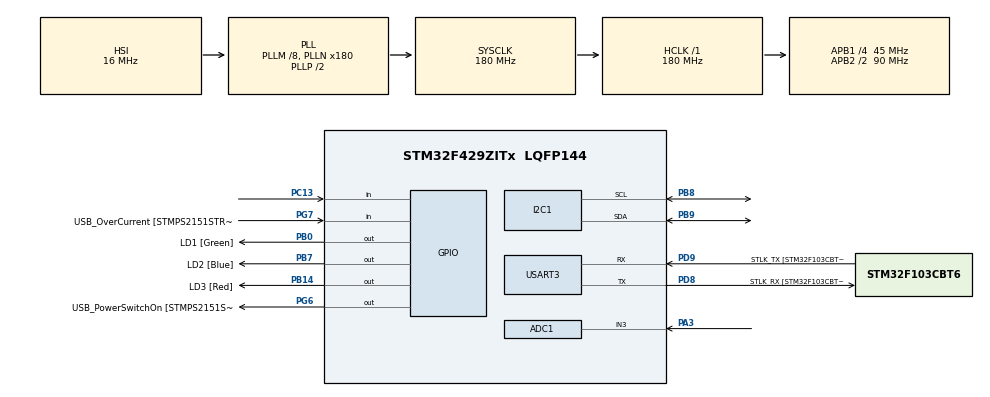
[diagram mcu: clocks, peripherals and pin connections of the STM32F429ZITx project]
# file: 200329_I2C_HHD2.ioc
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ADC1.Channel-0\#ChannelRegularConversion=ADC_CHANNEL_3
ADC1.NbrOfConversionFlag=1
ADC1.Rank-0\#ChannelRegularConversion=1
ADC1.SamplingTime-0\#ChannelRegularConversion=ADC_SAMPLETIME_3CYCLES
ADC1.master=1
Mcu.Family=STM32F4
Mcu.Name=STM32F429ZITx
Mcu.Package=LQFP144
NVIC.ADC_IRQn=true\:0\:0\:false\:false\:true\:true\:true
NVIC.PriorityGroup=NVIC_PRIORITYGROUP_4
NVIC.TIM2_IRQn=true\:0\:0\:false\:false\:true\:true\:true
NVIC.USART3_IRQn=true\:0\:0\:false\:false\:true\:true\:true
PA1.GPIO_Label=RMII_REF_CLK [LAN8742A-CZ-TR_REFCLK0]
PA1.Signal=ETH_REF_CLK
PA10.GPIO_Label=USB_ID
PA10.Signal=USB_OTG_FS_ID
PA11.GPIO_Label=USB_DM
PA11.Signal=USB_OTG_FS_DM
PA12.GPIO_Label=USB_DP
PA12.Signal=USB_OTG_FS_DP
PA13.GPIO_Label=TMS
PA13.Mode=Serial_Wire
PA13.Signal=SYS_JTMS-SWDIO
PA14.GPIO_Label=TCK
PA14.Mode=Serial_Wire
PA14.Signal=SYS_JTCK-SWCLK
PA2.GPIO_Label=RMII_MDIO [LAN8742A-CZ-TR_MDIO]
PA2.Signal=ETH_MDIO
PA3.Signal=ADCx_IN3
PA7.GPIO_Label=RMII_CRS_DV [LAN8742A-CZ-TR_CRS_DV]
PA7.Signal=ETH_CRS_DV
PA8.GPIO_Label=USB_SOF [TP1]
PA8.Signal=USB_OTG_FS_SOF
PA9.GPIO_Label=USB_VBUS
PA9.Signal=USB_OTG_FS_VBUS
PB0.GPIO_Label=LD1 [Green]
PB0.Signal=GPIO_Output
PB13.GPIO_Label=RMII_TXD1 [LAN8742A-CZ-TR_TXD1]
PB13.Signal=ETH_TXD1
PB14.GPIO_Label=LD3 [Red]
PB14.Signal=GPIO_Output
PB7.GPIO_Label=LD2 [Blue]
PB7.Signal=GPIO_Output
PB8.Mode=I2C
PB8.Signal=I2C1_SCL
PB9.Mode=I2C
PB9.Signal=I2C1_SDA
PC1.GPIO_Label=RMII_MDC [LAN8742A-CZ-TR_MDC]
PC1.Signal=ETH_MDC
PC13.Signal=GPIO_Input
PC14/OSC32_IN.Mode=LSE-External-Oscillator
PC14/OSC32_IN.Signal=RCC_OSC32_IN
PC15/OSC32_OUT.Mode=LSE-External-Oscillator
PC15/OSC32_OUT.Signal=RCC_OSC32_OUT
PC4.GPIO_Label=RMII_RXD0 [LAN8742A-CZ-TR_RXD0]
PC4.Signal=ETH_RXD0
PC5.GPIO_Label=RMII_RXD1 [LAN8742A-CZ-TR_RXD1]
PC5.Signal=ETH_RXD1
PD8.GPIO_Label=STLK_RX [STM32F103CBT6_PA3]
PD8.Mode=Asynchronous
PD8.Signal=USART3_TX
PD9.GPIO_Label=STLK_TX [STM32F103CBT6_PA2]
PD9.Mode=Asynchronous
PD9.Signal=USART3_RX
PG11.GPIO_Label=RMII_TX_EN [LAN8742A-CZ-TR_TXEN]
PG11.Signal=ETH_TX_EN
PG13.GPIO_Label=RMII_TXD0 [LAN8742A-CZ-TR_TXD0]
PG13.Signal=ETH_TXD0
PG6.GPIO_Label=USB_PowerSwitchOn [STMPS2151STR_EN]
PG6.Signal=GPIO_Output
PG7.GPIO_Label=USB_OverCurrent [STMPS2151STR_FAULT]
PG7.Signal=GPIO_Input
PH0/OSC_IN.GPIO_Label=MCO [STM32F103CBT6_PA8]
PH0/OSC_IN.Signal=RCC_OSC_IN
ProjectManager.HeapSize=0x200
ProjectManager.StackSize=0x400
ProjectManager.TargetToolchain=STM32CubeIDE
RCC.48MHZClocksFreq_Value=51428571.428571425
RCC.AHBFreq_Value=180000000
RCC.APB1CLKDivider=RCC_HCLK_DIV4
RCC.APB1Freq_Value=45000000
RCC.APB1TimFreq_Value=90000000
RCC.APB2CLKDivider=RCC_HCLK_DIV2
RCC.APB2Freq_Value=90000000
RCC.APB2TimCLKDivider=2
RCC.APB2TimFreq_Value=180000000
RCC.CortexFreq_Value=180000000
RCC.HCLKFreq_Value=180000000
RCC.HSE_VALUE=8000000
RCC.HSI_VALUE=16000000
RCC.PLLM=8
RCC.PLLMUL=RCC_PLL_MUL9
RCC.PLLN=180
RCC.PLLQ=7
RCC.PRESCALERUSB=RCC_USBCLKSOURCE_PLL_DIV1_5
RCC.RCC_RTC_Clock_Source=RCC_RTCCLKSOURCE_LSE
RCC.RCC_RTC_Clock_SourceVirtual=RCC_RTCCLKSOURCE_LSE
RCC.SYSCLKFreq_VALUE=180000000
RCC.SYSCLKSource=RCC_SYSCLKSOURCE_PLLCLK
RCC.SYSCLKSourceVirtual=RCC_SYSCLKSOURCE_PLLCLK
RCC.USBFreq_Value=48000000
RCC.VCOOutputFreq_Value=360000000
SH.ADCx_IN3.0=ADC1_IN3,IN3
TIM2.Period=900
TIM2.Prescaler=1000
USART3.VirtualMode=VM_ASYNC
VP_RTC_VS_RTC_Activate.Mode=RTC_Enabled
VP_TIM2_VS_ClockSourceINT.Mode=Internal
board=NUCLEO-F429ZI

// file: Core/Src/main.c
/* USER CODE BEGIN Header */
/**
  ******************************************************************************
  * @file           : main.c
  * @brief          : Main program body
  ******************************************************************************
  * @attention
  *
  * <h2><center>&copy; Copyright (c) 2020 STMicroelectronics.
  * All rights reserved.</center></h2>
  *
  * This software component is licensed by ST under BSD 3-Clause license,
  * the "License"; You may not use this file except in compliance with the
  * License. You may obtain a copy of the License at:
  *                        opensource.org/licenses/BSD-3-Clause
  *
  ******************************************************************************
  */
/* USER CODE END Header */

#include "main.h"

/* USER CODE BEGIN Includes */
#include <string.h>
/* USER CODE END Includes */

/* USER CODE BEGIN PTD */

#ifdef __GNUC__
/* With GCC, small printf (option LD Linker->Libraries->Small printf
   set to 'Yes') calls __io_putchar() */
#define PUTCHAR_PROTOTYPE int __io_putchar(int ch)
#else
#define PUTCHAR_PROTOTYPE int fputc(int ch, FILE *f)
#endif /* __GNUC__ */

#define LCD_ADDR (0x27 << 1)

/* USER CODE END PTD */

ADC_HandleTypeDef hadc1;

I2C_HandleTypeDef hi2c1;

RTC_HandleTypeDef hrtc;

TIM_HandleTypeDef htim2;

UART_HandleTypeDef huart3;

void SystemClock_Config(void);
static void MX_GPIO_Init(void);
static void MX_USART3_UART_Init(void);
static void MX_ADC1_Init(void);
static void MX_I2C1_Init(void);
static void MX_RTC_Init(void);
static void MX_TIM2_Init(void);
/* USER CODE BEGIN PFP */

//#define LCD_ADDR (0x27 << 1)
//#define FM ((uint32_t)0x08010000)

volatile int timer_count;
uint32_t adc_val=0;
int mode_count =0;
int posit = 1; //시간 위치 0 :  시  위치,  시간위치1 : 분 위치
unsigned int mode = 0; //mode 0: now time, mode 1: alarm, mode2 : music

unsigned int hour_now=0, min_now =0, sec_now =0 ; //현재 시간
unsigned int hour_alm=0, min_alm=5; sec_alm =0;			//알람 시, 알람 분
char music_cnt[5][20] = {"1.Hi GoldenBoy  ", "2.LOVE ME TENDER", "3.Tender          ", "4.Sad movie     ", "5.Bye GoldenBoy "};
unsigned int i =0; 		//music_cnt의 첫번째 배열

char now_time[20], alm_time[20];

char uart_buf;

/* USER CODE END PFP */

/* USER CODE BEGIN 0 */
void ADC_MODULE()
{
	HAL_ADC_Start(&hadc1);
	HAL_ADC_PollForConversion(&hadc1, 10);
	adc_val = HAL_ADC_GetValue(&hadc1);
	//HAL_ADC_Stop(&hadc1);  //이거 왜 넣은거지??
}

void HAL_TIM_PeriodElapsedCallback(TIM_HandleTypeDef *htim)
{
	if(htim->Instance==TIM2)
	{
		if((timer_count%10)==0)
		{
			//printf("1초마다 실행되어야 하는 타이머 카운터\n");
			////1초마다 실행 될것.
			sec_now++; // 1초가 지남
			if(sec_now > 59)
				{
				sec_now =0;
				min_now++;
				}
			if(min_now > 59)
			{
				min_now =0;
				hour_now++;
			}
			if(hour_now >23)
				hour_now =0;

		}
		timer_count++;
	}
}

/* USER CODE END 0 */

int main(void)
{

  /* MCU Configuration--------------------------------------------------------*/

  /* Reset of all peripherals, Initializes the Flash interface and the Systick. */
  HAL_Init();

  /* Configure the system clock */
  SystemClock_Config();

  /* Initialize all configured peripherals */
  MX_GPIO_Init();
  MX_USART3_UART_Init();
  MX_ADC1_Init();
  MX_I2C1_Init();
  MX_RTC_Init();
  MX_TIM2_Init();
  /* USER CODE BEGIN 2 */

  HAL_TIM_Base_Init(&htim2);
  HAL_TIM_Base_Start_IT(&htim2);

  HAL_ADC_Start(&hadc1);   //이게 있어야 ADC인터럽트 시작 가능

  /* USER CODE END 2 */

  /* Infinite loop */
  /* USER CODE BEGIN WHILE */
  LCD_Init(LCD_ADDR);
  while (1)
  {
		ADC_MODULE();
		//@ LCD첫번째 줄 출력

		if(mode ==0)
		{

			LCD_SendCommand(LCD_ADDR, 0x80);		//lcd의 첫째줄
			LCD_SendString(LCD_ADDR, "GoldenBoy Clock ");
			if(HAL_GPIO_ReadPin(GPIOC,GPIO_PIN_13) == GPIO_PIN_SET)
					mode++;
			/*
			if(mode_count > 1)
				{
					mode++;
					mode_count =0;
					break; //모드0 나감
				}
*/
			if(posit == 1 )  //posi가 0이면  hour 위치
			{

				switch(adc_val)
					{
					case 0 ... 10 :
						hour_now++;
						break;
					case 800 ... 900 :
						hour_now--;  //시 감소
						break;
					case 1800 ... 2000 :
						posit = 5;
						printf("hour, left 눌림\n");
						break;
					case 2600 ... 3000 :
						posit = 5;
						printf("hour, right 눌림\n");
						break;

					}
				if(hour_now < 12)
					sprintf(now_time, " AM %02d: %02d: %02d  ", hour_now ,min_now, sec_now);
				else
					sprintf(now_time, " PM %02d: %02d: %02d  ", hour_now-12,min_now, sec_now);
				LCD_SendCommand(LCD_ADDR, 0xC0);
				LCD_SendString(LCD_ADDR, now_time);

			}
			else
			{
				printf("여기는 now time, [min], 분배된 전압: %d , posit: %d \n", adc_val, posit);
				switch(adc_val)
					{
					case 0 ... 10 :
						min_now++;
						break;
					case 800 ... 900 :
						min_now--;  //시 감소
						break;
					case 1800 ... 2000 :
						posit = 1;
						printf("min, left 눌림\n");

						break;
					case 2600 ... 3000 :
						posit = 1;
						printf("min, right 눌림\n");
						break;

					}
				if(hour_now < 12)
					sprintf(now_time, " AM %02d: %02d: %02d  ", hour_now ,min_now, sec_now);
				else
					sprintf(now_time, " PM %02d: %02d: %02d  ", hour_now-12,min_now, sec_now);
				LCD_SendCommand(LCD_ADDR, 0xC0);
				LCD_SendString(LCD_ADDR, now_time);

			}
			if(hour_now == hour_alm && min_now == min_alm)
			{
				LCD_SendCommand(LCD_ADDR, 0x80);		//lcd의 첫째줄
				LCD_SendString(LCD_ADDR, "Wake up! hunny~ ");
			}
		}
		if(mode ==1)
		{
			sec_alm = 0;
			LCD_SendCommand(LCD_ADDR, 0x80);		//lcd의 첫째줄
			LCD_SendString(LCD_ADDR, " Alarm setting ");
			if(HAL_GPIO_ReadPin(GPIOC,GPIO_PIN_13) == GPIO_PIN_SET)
					mode++;
			if(posit == 1 )  //posi가 0이면  hour 위치
				{
					printf("여기는 now time, hour, 분배된 전압: %d , posit: %d \n", adc_val, posit);
					switch(adc_val)
						{
						case 0 ... 10 : 	//위
							hour_alm++;
							break;
						case 800 ... 900 : 	//아래
							hour_alm--;  //시 감소
							break;
						case 1800 ... 2000 :	//왼쪽
							posit = 5;
							printf("hour, left 눌림\n");
							break;
						case 2600 ... 3000 :	//오른쪽
							posit = 5;
							printf("hour, right 눌림\n");
							break;

						}
					if(hour_now < 12)
						sprintf(alm_time, " AM %02d: %02d: %02d  ", hour_alm ,min_alm, sec_alm);
					else
						sprintf(alm_time, " PM %02d: %02d: %02d  ", hour_alm-12,min_alm, sec_alm);
					LCD_SendCommand(LCD_ADDR, 0xC0);
					LCD_SendString(LCD_ADDR, alm_time);
					/*
					if(now_time == alm_time)
					{

					}
						*/
				}
				else
				{
					printf("여기는 now time, [min], 분배된 전압: %d , posit: %d \n", adc_val, posit);
					switch(adc_val)
						{
						case 0 ... 10 :
							min_alm++;
							break;
						case 800 ... 900 :
							min_alm--;  //시 감소
							break;
						case 1800 ... 2000 :
							posit = 1;
							printf("min, left 눌림\n");

							break;
						case 2600 ... 3000 :
							posit = 1;
							printf("min, right 눌림\n");
							break;

						}

					if(hour_now < 12)
						sprintf(alm_time, " AM %02d: %02d: %02d  ", hour_alm ,min_alm, sec_alm);
					else
						sprintf(alm_time, " PM %02d: %02d: %02d  ", hour_alm-12,min_alm, sec_alm);
					LCD_SendCommand(LCD_ADDR, 0xC0);
					LCD_SendString(LCD_ADDR, alm_time);

				}

		}
		if(mode ==2)
		{
			LCD_SendCommand(LCD_ADDR, 0x80);		//lcd의 첫째줄
			LCD_SendString(LCD_ADDR, " Music setting  ");
			if(HAL_GPIO_ReadPin(GPIOC,GPIO_PIN_13) == GPIO_PIN_SET)
					mode++;
			switch(adc_val)
			{
			case 0 ... 10 :
				i++;
				break;
			case 800 ... 900 :
				i--;
				break;
			case 1800 ... 2000 :
				i--;
				break;
			case 2600 ... 3000 :
				i++;
				break;
			}
			if(i >4 ) i =0;
			LCD_SendCommand(LCD_ADDR, 0xC0);
			LCD_SendString(LCD_ADDR, music_cnt[i]);

			printf("%s\n", music_cnt[i]);

		}
		if(mode > 2) mode = 0;

    /* USER CODE END WHILE */

  }
}

void SystemClock_Config(void)
{
  RCC_OscInitTypeDef RCC_OscInitStruct = {0};
  RCC_ClkInitTypeDef RCC_ClkInitStruct = {0};
  RCC_PeriphCLKInitTypeDef PeriphClkInitStruct = {0};

  /** Configure the main internal regulator output voltage
  */
  __HAL_RCC_PWR_CLK_ENABLE();
  __HAL_PWR_VOLTAGESCALING_CONFIG(PWR_REGULATOR_VOLTAGE_SCALE1);
  /** Initializes the CPU, AHB and APB busses clocks
  */
  RCC_OscInitStruct.OscillatorType = RCC_OSCILLATORTYPE_HSI|RCC_OSCILLATORTYPE_LSE;
  RCC_OscInitStruct.LSEState = RCC_LSE_ON;
  RCC_OscInitStruct.HSIState = RCC_HSI_ON;
  RCC_OscInitStruct.HSICalibrationValue = RCC_HSICALIBRATION_DEFAULT;
  RCC_OscInitStruct.PLL.PLLState = RCC_PLL_ON;
  RCC_OscInitStruct.PLL.PLLSource = RCC_PLLSOURCE_HSI;
  RCC_OscInitStruct.PLL.PLLM = 8;
  RCC_OscInitStruct.PLL.PLLN = 180;
  RCC_OscInitStruct.PLL.PLLP = RCC_PLLP_DIV2;
  RCC_OscInitStruct.PLL.PLLQ = 7;
  if (HAL_RCC_OscConfig(&RCC_OscInitStruct) != HAL_OK)
  {
    Error_Handler();
  }
  /** Activate the Over-Drive mode
  */
  if (HAL_PWREx_EnableOverDrive() != HAL_OK)
  {
    Error_Handler();
  }
  /** Initializes the CPU, AHB and APB busses clocks
  */
  RCC_ClkInitStruct.ClockType = RCC_CLOCKTYPE_HCLK|RCC_CLOCKTYPE_SYSCLK
                              |RCC_CLOCKTYPE_PCLK1|RCC_CLOCKTYPE_PCLK2;
  RCC_ClkInitStruct.SYSCLKSource = RCC_SYSCLKSOURCE_PLLCLK;
  RCC_ClkInitStruct.AHBCLKDivider = RCC_SYSCLK_DIV1;
  RCC_ClkInitStruct.APB1CLKDivider = RCC_HCLK_DIV4;
  RCC_ClkInitStruct.APB2CLKDivider = RCC_HCLK_DIV2;

  if (HAL_RCC_ClockConfig(&RCC_ClkInitStruct, FLASH_LATENCY_5) != HAL_OK)
  {
    Error_Handler();
  }
  PeriphClkInitStruct.PeriphClockSelection = RCC_PERIPHCLK_RTC;
  PeriphClkInitStruct.RTCClockSelection = RCC_RTCCLKSOURCE_LSE;
  if (HAL_RCCEx_PeriphCLKConfig(&PeriphClkInitStruct) != HAL_OK)
  {
    Error_Handler();
  }
}

static void MX_ADC1_Init(void)
{

  ADC_ChannelConfTypeDef sConfig = {0};

  /** Configure the global features of the ADC (Clock, Resolution, Data Alignment and number of conversion)
  */
  hadc1.Instance = ADC1;
  hadc1.Init.ClockPrescaler = ADC_CLOCK_SYNC_PCLK_DIV4;
  hadc1.Init.Resolution = ADC_RESOLUTION_12B;
  hadc1.Init.ScanConvMode = DISABLE;
  hadc1.Init.ContinuousConvMode = DISABLE;
  hadc1.Init.DiscontinuousConvMode = DISABLE;
  hadc1.Init.ExternalTrigConvEdge = ADC_EXTERNALTRIGCONVEDGE_NONE;
  hadc1.Init.ExternalTrigConv = ADC_SOFTWARE_START;
  hadc1.Init.DataAlign = ADC_DATAALIGN_RIGHT;
  hadc1.Init.NbrOfConversion = 1;
  hadc1.Init.DMAContinuousRequests = DISABLE;
  hadc1.Init.EOCSelection = ADC_EOC_SINGLE_CONV;
  if (HAL_ADC_Init(&hadc1) != HAL_OK)
  {
    Error_Handler();
  }
  /** Configure for the selected ADC regular channel its corresponding rank in the sequencer and its sample time.
  */
  sConfig.Channel = ADC_CHANNEL_3;
  sConfig.Rank = 1;
  sConfig.SamplingTime = ADC_SAMPLETIME_3CYCLES;
  if (HAL_ADC_ConfigChannel(&hadc1, &sConfig) != HAL_OK)
  {
    Error_Handler();
  }

}

static void MX_I2C1_Init(void)
{

  hi2c1.Instance = I2C1;
  hi2c1.Init.ClockSpeed = 100000;
  hi2c1.Init.DutyCycle = I2C_DUTYCYCLE_2;
  hi2c1.Init.OwnAddress1 = 0;
  hi2c1.Init.AddressingMode = I2C_ADDRESSINGMODE_7BIT;
  hi2c1.Init.DualAddressMode = I2C_DUALADDRESS_DISABLE;
  hi2c1.Init.OwnAddress2 = 0;
  hi2c1.Init.GeneralCallMode = I2C_GENERALCALL_DISABLE;
  hi2c1.Init.NoStretchMode = I2C_NOSTRETCH_DISABLE;
  if (HAL_I2C_Init(&hi2c1) != HAL_OK)
  {
    Error_Handler();
  }
  /** Configure Analogue filter
  */
  if (HAL_I2CEx_ConfigAnalogFilter(&hi2c1, I2C_ANALOGFILTER_ENABLE) != HAL_OK)
  {
    Error_Handler();
  }
  /** Configure Digital filter
  */
  if (HAL_I2CEx_ConfigDigitalFilter(&hi2c1, 0) != HAL_OK)
  {
    Error_Handler();
  }

}

static void MX_RTC_Init(void)
{

  /** Initialize RTC Only
  */
  hrtc.Instance = RTC;
  hrtc.Init.HourFormat = RTC_HOURFORMAT_24;
  hrtc.Init.AsynchPrediv = 127;
  hrtc.Init.SynchPrediv = 255;
  hrtc.Init.OutPut = RTC_OUTPUT_DISABLE;
  hrtc.Init.OutPutPolarity = RTC_OUTPUT_POLARITY_HIGH;
  hrtc.Init.OutPutType = RTC_OUTPUT_TYPE_OPENDRAIN;
  if (HAL_RTC_Init(&hrtc) != HAL_OK)
  {
    Error_Handler();
  }

}

static void MX_TIM2_Init(void)
{

  TIM_ClockConfigTypeDef sClockSourceConfig = {0};
  TIM_MasterConfigTypeDef sMasterConfig = {0};

  htim2.Instance = TIM2;
  htim2.Init.Prescaler = 1000;
  htim2.Init.CounterMode = TIM_COUNTERMODE_UP;
  htim2.Init.Period = 900;
  htim2.Init.ClockDivision = TIM_CLOCKDIVISION_DIV1;
  htim2.Init.AutoReloadPreload = TIM_AUTORELOAD_PRELOAD_DISABLE;
  if (HAL_TIM_Base_Init(&htim2) != HAL_OK)
  {
    Error_Handler();
  }
  sClockSourceConfig.ClockSource = TIM_CLOCKSOURCE_INTERNAL;
  if (HAL_TIM_ConfigClockSource(&htim2, &sClockSourceConfig) != HAL_OK)
  {
    Error_Handler();
  }
  sMasterConfig.MasterOutputTrigger = TIM_TRGO_RESET;
  sMasterConfig.MasterSlaveMode = TIM_MASTERSLAVEMODE_DISABLE;
  if (HAL_TIMEx_MasterConfigSynchronization(&htim2, &sMasterConfig) != HAL_OK)
  {
    Error_Handler();
  }

}

static void MX_USART3_UART_Init(void)
{

  huart3.Instance = USART3;
  huart3.Init.BaudRate = 115200;
  huart3.Init.WordLength = UART_WORDLENGTH_8B;
  huart3.Init.StopBits = UART_STOPBITS_1;
  huart3.Init.Parity = UART_PARITY_NONE;
  huart3.Init.Mode = UART_MODE_TX_RX;
  huart3.Init.HwFlowCtl = UART_HWCONTROL_NONE;
  huart3.Init.OverSampling = UART_OVERSAMPLING_16;
  if (HAL_UART_Init(&huart3) != HAL_OK)
  {
    Error_Handler();
  }

}

static void MX_GPIO_Init(void)
{
  GPIO_InitTypeDef GPIO_InitStruct = {0};

  /* GPIO Ports Clock Enable */
  __HAL_RCC_GPIOC_CLK_ENABLE();
  __HAL_RCC_GPIOH_CLK_ENABLE();
  __HAL_RCC_GPIOA_CLK_ENABLE();
  __HAL_RCC_GPIOB_CLK_ENABLE();
  __HAL_RCC_GPIOD_CLK_ENABLE();
  __HAL_RCC_GPIOG_CLK_ENABLE();

  /*Configure GPIO pin Output Level */
  HAL_GPIO_WritePin(GPIOB, LD1_Pin|LD3_Pin|LD2_Pin, GPIO_PIN_RESET);

  /*Configure GPIO pin Output Level */
  HAL_GPIO_WritePin(USB_PowerSwitchOn_GPIO_Port, USB_PowerSwitchOn_Pin, GPIO_PIN_RESET);

  /*Configure GPIO pin : PC13 */
  GPIO_InitStruct.Pin = GPIO_PIN_13;
  GPIO_InitStruct.Mode = GPIO_MODE_INPUT;
  GPIO_InitStruct.Pull = GPIO_NOPULL;
  HAL_GPIO_Init(GPIOC, &GPIO_InitStruct);

  /*Configure GPIO pins : RMII_MDC_Pin RMII_RXD0_Pin RMII_RXD1_Pin */
  GPIO_InitStruct.Pin = RMII_MDC_Pin|RMII_RXD0_Pin|RMII_RXD1_Pin;
  GPIO_InitStruct.Mode = GPIO_MODE_AF_PP;
  GPIO_InitStruct.Pull = GPIO_NOPULL;
  GPIO_InitStruct.Speed = GPIO_SPEED_FREQ_VERY_HIGH;
  GPIO_InitStruct.Alternate = GPIO_AF11_ETH;
  HAL_GPIO_Init(GPIOC, &GPIO_InitStruct);

  /*Configure GPIO pins : RMII_REF_CLK_Pin RMII_MDIO_Pin RMII_CRS_DV_Pin */
  GPIO_InitStruct.Pin = RMII_REF_CLK_Pin|RMII_MDIO_Pin|RMII_CRS_DV_Pin;
  GPIO_InitStruct.Mode = GPIO_MODE_AF_PP;
  GPIO_InitStruct.Pull = GPIO_NOPULL;
  GPIO_InitStruct.Speed = GPIO_SPEED_FREQ_VERY_HIGH;
  GPIO_InitStruct.Alternate = GPIO_AF11_ETH;
  HAL_GPIO_Init(GPIOA, &GPIO_InitStruct);

  /*Configure GPIO pins : LD1_Pin LD3_Pin LD2_Pin */
  GPIO_InitStruct.Pin = LD1_Pin|LD3_Pin|LD2_Pin;
  GPIO_InitStruct.Mode = GPIO_MODE_OUTPUT_PP;
  GPIO_InitStruct.Pull = GPIO_NOPULL;
  GPIO_InitStruct.Speed = GPIO_SPEED_FREQ_LOW;
  HAL_GPIO_Init(GPIOB, &GPIO_InitStruct);

  /*Configure GPIO pin : RMII_TXD1_Pin */
  GPIO_InitStruct.Pin = RMII_TXD1_Pin;
  GPIO_InitStruct.Mode = GPIO_MODE_AF_PP;
  GPIO_InitStruct.Pull = GPIO_NOPULL;
  GPIO_InitStruct.Speed = GPIO_SPEED_FREQ_VERY_HIGH;
  GPIO_InitStruct.Alternate = GPIO_AF11_ETH;
  HAL_GPIO_Init(RMII_TXD1_GPIO_Port, &GPIO_InitStruct);

  /*Configure GPIO pin : USB_PowerSwitchOn_Pin */
  GPIO_InitStruct.Pin = USB_PowerSwitchOn_Pin;
  GPIO_InitStruct.Mode = GPIO_MODE_OUTPUT_PP;
  GPIO_InitStruct.Pull = GPIO_NOPULL;
  GPIO_InitStruct.Speed = GPIO_SPEED_FREQ_LOW;
  HAL_GPIO_Init(USB_PowerSwitchOn_GPIO_Port, &GPIO_InitStruct);

  /*Configure GPIO pin : USB_OverCurrent_Pin */
  GPIO_InitStruct.Pin = USB_OverCurrent_Pin;
  GPIO_InitStruct.Mode = GPIO_MODE_INPUT;
  GPIO_InitStruct.Pull = GPIO_NOPULL;
  HAL_GPIO_Init(USB_OverCurrent_GPIO_Port, &GPIO_InitStruct);

  /*Configure GPIO pins : USB_SOF_Pin USB_ID_Pin USB_DM_Pin USB_DP_Pin */
  GPIO_InitStruct.Pin = USB_SOF_Pin|USB_ID_Pin|USB_DM_Pin|USB_DP_Pin;
  GPIO_InitStruct.Mode = GPIO_MODE_AF_PP;
  GPIO_InitStruct.Pull = GPIO_NOPULL;
  GPIO_InitStruct.Speed = GPIO_SPEED_FREQ_VERY_HIGH;
  GPIO_InitStruct.Alternate = GPIO_AF10_OTG_FS;
  HAL_GPIO_Init(GPIOA, &GPIO_InitStruct);

  /*Configure GPIO pin : USB_VBUS_Pin */
  GPIO_InitStruct.Pin = USB_VBUS_Pin;
  GPIO_InitStruct.Mode = GPIO_MODE_INPUT;
  GPIO_InitStruct.Pull = GPIO_NOPULL;
  HAL_GPIO_Init(USB_VBUS_GPIO_Port, &GPIO_InitStruct);

  /*Configure GPIO pins : RMII_TX_EN_Pin RMII_TXD0_Pin */
  GPIO_InitStruct.Pin = RMII_TX_EN_Pin|RMII_TXD0_Pin;
  GPIO_InitStruct.Mode = GPIO_MODE_AF_PP;
  GPIO_InitStruct.Pull = GPIO_NOPULL;
  GPIO_InitStruct.Speed = GPIO_SPEED_FREQ_VERY_HIGH;
  GPIO_InitStruct.Alternate = GPIO_AF11_ETH;
  HAL_GPIO_Init(GPIOG, &GPIO_InitStruct);

}

/* USER CODE BEGIN 4 */
/**
  * @brief  Retargets the C library printf function to the USART.
  * @param  None
  * @retval None
  */
PUTCHAR_PROTOTYPE
{
  /* Place your implementation of fputc here */
  /* e.g. write a character to the USART3 and Loop until the end of transmission */
  HAL_UART_Transmit(&huart3, (uint8_t *)&ch, 1, 0xFFFF);

  return ch;
}

/* USER CODE END 4 */

void Error_Handler(void)
{
}

/************************ (C) COPYRIGHT STMicroelectronics *****END OF FILE****/
